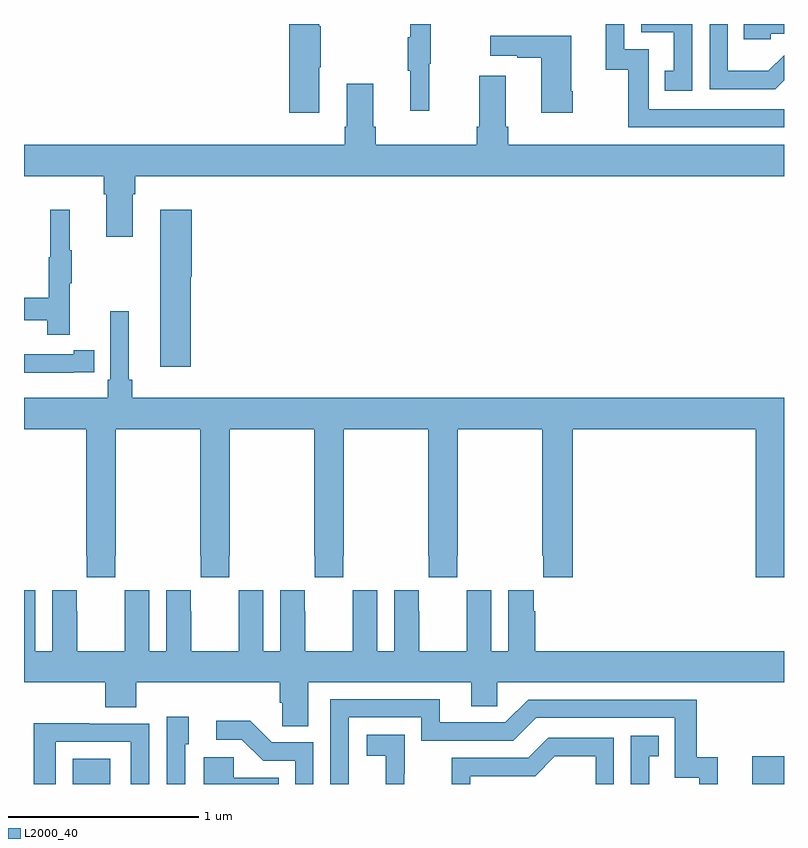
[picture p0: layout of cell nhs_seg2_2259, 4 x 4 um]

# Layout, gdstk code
import gdstk
lib = gdstk.Library(unit=1e-6, precision=1e-09)
def R(c, l, rs):  # rectangles x0, y0, x1, y1
    for r in rs: c.add(gdstk.rectangle(r[:2], r[2:], *l))
def P(c, l, *ps):  # polygons
    for p in ps: c.add(gdstk.Polygon(p, *l))
L2000_40 = (2000, 40)

nhs_seg2_2259 = lib.new_cell('nhs_seg2_2259')
R(nhs_seg2_2259, L2000_40, [(229.256,613.8,229.453,613.933), (232.832,613.8,233,613.945)])
P(nhs_seg2_2259, L2000_40, [(233,617.503),(233,617.636),(232.918,617.554),(232.704,617.554),(232.704,617.8),(232.608,617.8),(232.608,617.457),(232.954,617.457)],
  [(233,617.352),(232.287,617.352),(232.287,617.667),(232.158,617.667),(232.158,617.8),(232.061,617.8),(232.061,617.559),(232.179,617.559),(232.179,617.256),(233,617.256)],
  [(230.554,617.572),(230.562,617.572),(230.562,617.789),(230.554,617.789),(230.554,617.8),(230.396,617.8),(230.396,617.334),(230.554,617.334)],
  [(232.518,617.8),(232.248,617.8),(232.248,617.757),(232.421,617.757),(232.421,617.553),(232.372,617.553),(232.372,617.448),(232.518,617.448)],
  [(231.134,617.592),(231.142,617.592),(231.142,617.8),(231.032,617.8),(231.032,617.729),(231.021,617.729),(231.021,617.555),(231.032,617.555),(231.032,617.343),(231.134,617.343)],
  [(232.929,617.748),(233,617.748),(233,617.8),(232.789,617.8),(232.789,617.721),(232.929,617.721)],
  [(231.888,617.446),(231.88,617.446),(231.88,617.737),(231.453,617.737),(231.453,617.633),(231.596,617.633),(231.596,617.623),(231.722,617.623),(231.722,617.334),(231.888,617.334)],
  [(229.573,616.904),(229.586,616.904),(229.586,617),(233,617),(233,617.164),(231.548,617.164),(231.548,617.26),(231.535,617.26),(231.535,617.527),(231.395,617.527),(231.395,617.26),(231.383,617.26),(231.383,617.164),(230.852,617.164),(230.852,617.26),(230.839,617.26),(230.839,617.485),(230.699,617.485),(230.699,617.26),(230.687,617.26),(230.687,617.164),(229,617.164),(229,617),(229.421,617),(229.421,616.904),(229.433,616.904),(229.433,616.68),(229.573,616.68)],
  [(229.241,616.435),(229.252,616.435),(229.252,616.609),(229.241,616.609),(229.241,616.822),(229.138,616.822),(229.138,616.572),(229.131,616.572),(229.131,616.358),(229,616.358),(229,616.242),(229.123,616.242),(229.123,616.164),(229.241,616.164)],
  [(229.877,616.47),(229.882,616.47),(229.882,616.822),(229.718,616.822),(229.718,615.996),(229.877,615.996)],
  [(229.479,615.001),(229.482,615.001),(229.482,615.668),(229.927,615.668),(229.927,615.001),(229.929,615.001),(229.929,614.889),(230.079,614.889),(230.079,615.001),(230.082,615.001),(230.082,615.668),(230.527,615.668),(230.527,615.001),(230.529,615.001),(230.529,614.889),(230.679,614.889),(230.679,615.001),(230.682,615.001),(230.682,615.668),(231.127,615.668),(231.127,615.001),(231.129,615.001),(231.129,614.889),(231.279,614.889),(231.279,615.001),(231.282,615.001),(231.282,615.668),(231.727,615.668),(231.727,615.001),(231.733,615.001),(231.733,614.889),(231.887,614.889),(231.887,615.668),(232.85,615.668),(232.85,614.889),(233,614.889),(233,615.832),(229.571,615.832),(229.571,615.928),(229.552,615.928),(229.552,616.288),(229.455,616.288),(229.455,615.928),(229.442,615.928),(229.442,615.832),(229,615.832),(229,615.668),(229.327,615.668),(229.327,615.001),(229.329,615.001),(229.329,614.889),(229.479,614.889)],
  [(229.262,615.966),(229.37,615.966),(229.37,616.082),(229.262,616.082),(229.262,616.062),(229,616.062),(229,615.965),(229.262,615.965)],
  [(230.497,614.336),(231.353,614.336),(231.353,614.209),(231.492,614.209),(231.492,614.336),(233,614.336),(233,614.5),(231.692,614.5),(231.692,614.708),(231.682,614.708),(231.682,614.821),(231.548,614.821),(231.548,614.5),(231.46,614.5),(231.46,614.821),(231.33,614.821),(231.33,614.708),(231.329,614.708),(231.329,614.5),(231.079,614.5),(231.079,614.708),(231.078,614.708),(231.078,614.821),(230.948,614.821),(230.948,614.5),(230.86,614.5),(230.86,614.821),(230.73,614.821),(230.73,614.708),(230.729,614.708),(230.729,614.5),(230.479,614.5),(230.479,614.708),(230.478,614.708),(230.478,614.821),(230.348,614.821),(230.348,614.5),(230.26,614.5),(230.26,614.821),(230.13,614.821),(230.13,614.708),(230.129,614.708),(230.129,614.5),(229.879,614.5),(229.879,614.708),(229.878,614.708),(229.878,614.821),(229.748,614.821),(229.748,614.5),(229.66,614.5),(229.66,614.821),(229.53,614.821),(229.53,614.708),(229.529,614.708),(229.529,614.5),(229.279,614.5),(229.279,614.708),(229.278,614.708),(229.278,614.821),(229.148,614.821),(229.148,614.5),(229.06,614.5),(229.06,614.821),(229,614.821),(229,614.336),(229.427,614.336),(229.427,614.203),(229.592,614.203),(229.592,614.336),(230.345,614.336),(230.345,614.227),(230.358,614.227),(230.358,614.104),(230.497,614.104)],
  [(230.709,614.151),(231.09,614.151),(231.09,614.028),(231.576,614.028),(231.696,614.148),(232.425,614.148),(232.425,613.833),(232.554,613.833),(232.554,613.8),(232.652,613.8),(232.652,613.942),(232.541,613.942),(232.541,614.244),(231.654,614.244),(231.534,614.124),(231.187,614.124),(231.187,614.247),(230.613,614.247),(230.613,613.8),(230.709,613.8)],
  [(229.848,614.01),(229.867,614.01),(229.867,614.155),(229.752,614.155),(229.752,613.8),(229.848,613.8)],
  [(230.523,614.019),(230.304,614.019),(230.191,614.132),(230.013,614.132),(230.013,614.034),(230.147,614.034),(230.258,613.923),(230.427,613.923),(230.427,613.8),(230.523,613.8)],
  [(229.167,614.022),(229.563,614.022),(229.563,613.8),(229.659,613.8),(229.659,614.118),(229.343,614.118),(229.343,614.12),(229.051,614.12),(229.051,613.8),(229.167,613.8)],
  [(231.002,613.853),(231.003,613.853),(231.003,614.059),(230.805,614.059),(230.805,613.949),(230.903,613.949),(230.903,613.8),(231.002,613.8)],
  [(232.291,613.947),(232.34,613.947),(232.34,614.053),(232.194,614.053),(232.194,613.8),(232.291,613.8)],
  [(231.348,613.842),(231.69,613.842),(231.794,613.946),(232.008,613.946),(232.008,613.8),(232.104,613.8),(232.104,614.043),(231.758,614.043),(231.653,613.938),(231.25,613.938),(231.25,613.8),(231.348,613.8)],
  [(230.342,613.834),(230.103,613.834),(230.103,613.942),(229.946,613.942),(229.946,613.8),(230.342,613.8)])

lib.write_gds('nhs_seg2_2259.gds')
